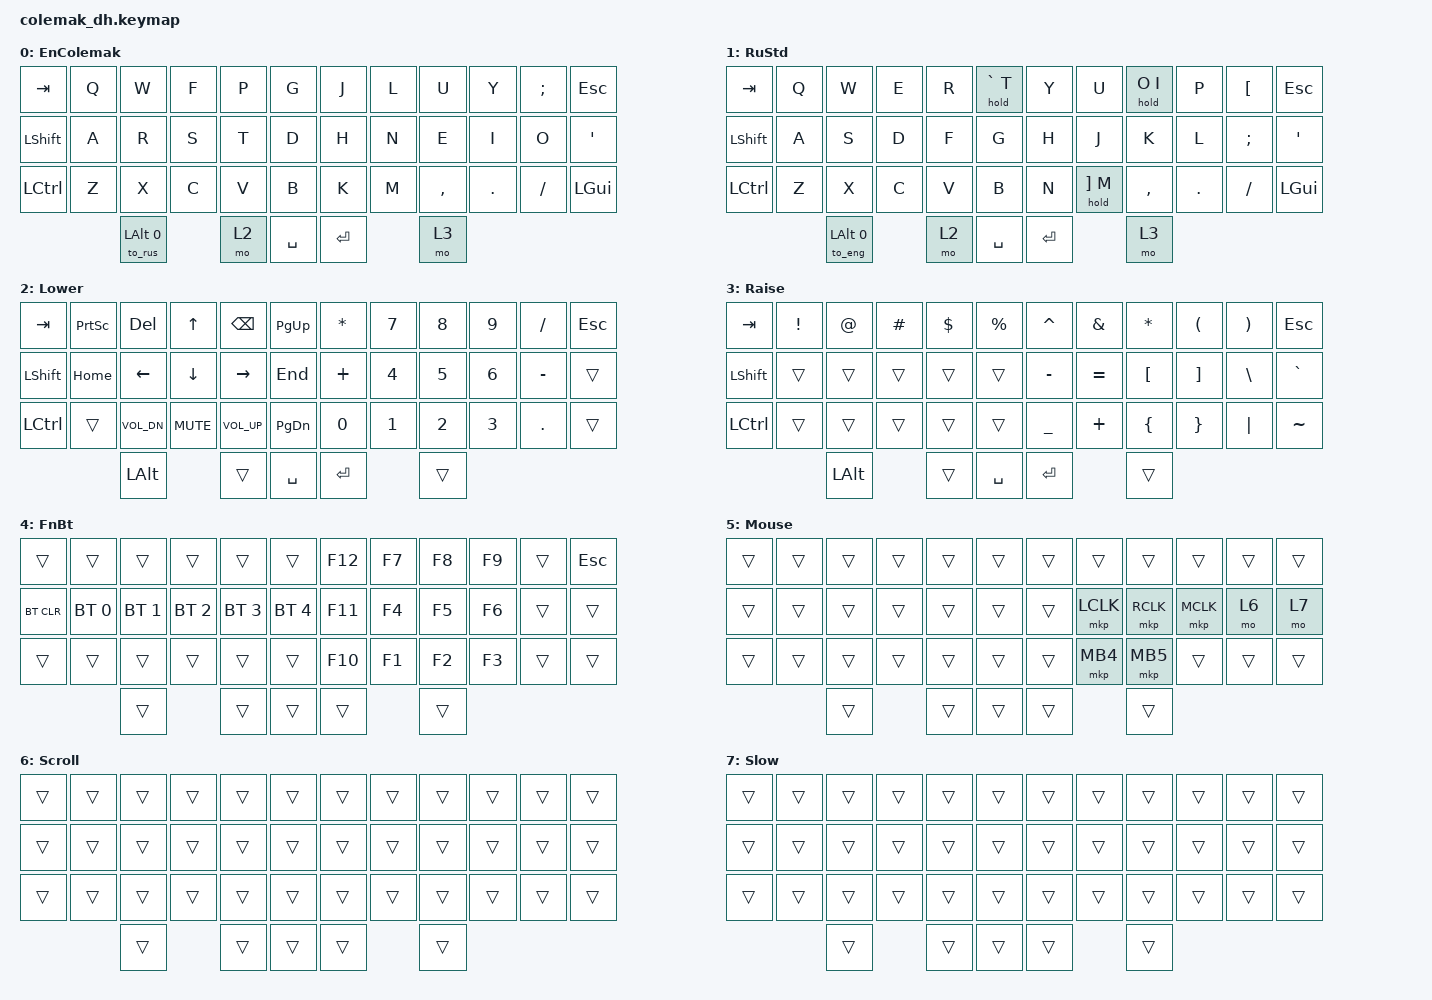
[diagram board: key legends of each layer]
/* upstream bindings and behaviors */
#include <behaviors.dtsi>
#include <dt-bindings/zmk/bt.h>
#include <dt-bindings/zmk/keys.h>
#include <dt-bindings/zmk/mouse.h>
#include <behaviors/mouse_keys.dtsi>

/* local overlays */
#include "behaviors.dtsi"

/ {
    keymap {
        compatible = "zmk,keymap";

        EN_COLEMAK {
            display-name = "EnColemak";
            bindings = <
&kp TAB     &kp Q     &kp W     &kp F     &kp P     &kp G       &kp J     &kp L       &kp U       &kp Y     &kp SEMICOLON  &kp ESC
&kp LSHFT   &kp A     &kp R     &kp S     &kp T     &kp D       &kp H     &kp N       &kp E       &kp I     &kp O     &kp APOS
&kp LCTRL   &kp Z     &kp X     &kp C     &kp V     &kp B       &kp K     &kp M       &kp COMMA   &kp DOT   &kp FSLH  &kp LGUI
                           &to_rus LALT 0     &mo 2   &kp SPACE      &kp ENTER     &mo 3
            >;
        };

        RU_STD {
            display-name = "RuStd";
            bindings = <
&kp TAB     &kp Q     &kp W     &kp E     &kp R     &hold GRAVE T     &kp Y     &kp U          &hold O I      &kp P     &kp LBKT  &kp ESC
&kp LSHFT   &kp A     &kp S     &kp D     &kp F     &kp G             &kp H     &kp J          &kp K          &kp L     &kp SEMICOLON  &kp APOS
&kp LCTRL   &kp Z     &kp X     &kp C     &kp V     &kp B             &kp N     &hold RBKT M   &kp COMMA      &kp DOT   &kp FSLH  &kp LGUI
                           &to_eng LALT 0     &mo 2   &kp SPACE         &kp ENTER     &mo 3
            >;
        };

        LOWER {
            display-name = "Lower";
            bindings = <
&kp TAB     &kp PRINTSCREEN  &kp DEL      &kp UP_ARROW      &kp BACKSPACE  &kp PG_UP     &kp ASTRK   &kp N7    &kp N8    &kp N9    &kp FSLH   &kp ESC
&kp LSHFT   &kp HOME   &kp LEFT_ARROW     &kp DOWN_ARROW    &kp RIGHT_ARROW      &kp END      &kp PLUS    &kp N4    &kp N5    &kp N6    &kp MINUS  &trans
&kp LCTRL   &trans     &kp C_VOL_DN &kp C_MUTE  &kp C_VOL_UP   &kp PG_DN    &kp N0      &kp N1    &kp N2    &kp N3    &kp DOT    &trans
                            &kp LALT   &trans    &kp SPACE       &kp ENTER    &trans
            >;
        };

        RAISE {
            display-name = "Raise";
            bindings = <
&kp TAB     &kp EXCL   &kp AT      &kp HASH   &kp DLLR  &kp PRCNT    &kp CARET  &kp AMPS   &kp ASTRK  &kp LPAR  &kp RPAR  &kp ESC
&kp LSHFT   &trans     &trans      &trans     &trans    &trans       &kp MINUS  &kp EQUAL  &kp LBKT   &kp RBKT  &kp BSLH  &kp GRAVE
&kp LCTRL   &trans     &trans      &trans     &trans    &trans       &kp UNDER  &kp PLUS   &kp LBRC   &kp RBRC  &kp PIPE  &kp TILDE
                           &kp LALT    &trans    &kp SPACE    &kp ENTER   &trans
            >;
        };

        FN_BT {
            display-name = "FnBt";
            bindings = <
&trans      &trans      &trans      &trans      &trans      &trans          &kp F12      &kp F7        &kp F8        &kp F9     &trans      &kp ESC
&bt BT_CLR  &bt BT_SEL 0 &bt BT_SEL 1 &bt BT_SEL 2 &bt BT_SEL 3 &bt BT_SEL 4  &kp F11      &kp F4        &kp F5        &kp F6     &trans      &trans
&trans      &trans      &trans      &trans      &trans      &trans          &kp F10      &kp F1        &kp F2        &kp F3     &trans      &trans
                                 &trans       &trans       &trans         &trans      &trans
            >;
        };

        MOUSE {
            display-name = "Mouse";
            bindings = <
&trans     &trans      &trans      &trans      &trans      &trans       &trans      &trans      &trans      &trans      &trans      &trans
&trans     &trans      &trans      &trans      &trans      &trans       &trans      &mkp LCLK   &mkp RCLK   &mkp MCLK   &mo 6       &mo 7
&trans     &trans      &trans      &trans      &trans      &trans       &trans      &mkp MB4    &mkp MB5    &trans      &trans      &trans
                              &trans      &trans      &trans     &trans      &trans
            >;
        };

        SCROLL {
            display-name = "Scroll";
            bindings = <
&trans     &trans      &trans      &trans      &trans      &trans       &trans      &trans      &trans      &trans      &trans      &trans
&trans     &trans      &trans      &trans      &trans      &trans       &trans      &trans      &trans      &trans      &trans      &trans
&trans     &trans      &trans      &trans      &trans      &trans       &trans      &trans      &trans      &trans      &trans      &trans
                              &trans      &trans      &trans     &trans      &trans
            >;
        };

        SLOW {
            display-name = "Slow";
            bindings = <
&trans     &trans      &trans      &trans      &trans      &trans       &trans      &trans      &trans      &trans      &trans      &trans
&trans     &trans      &trans      &trans      &trans      &trans       &trans      &trans      &trans      &trans      &trans      &trans
&trans     &trans      &trans      &trans      &trans      &trans       &trans      &trans      &trans      &trans      &trans      &trans
                              &trans      &trans      &trans     &trans      &trans
            >;
        };
    };
};
